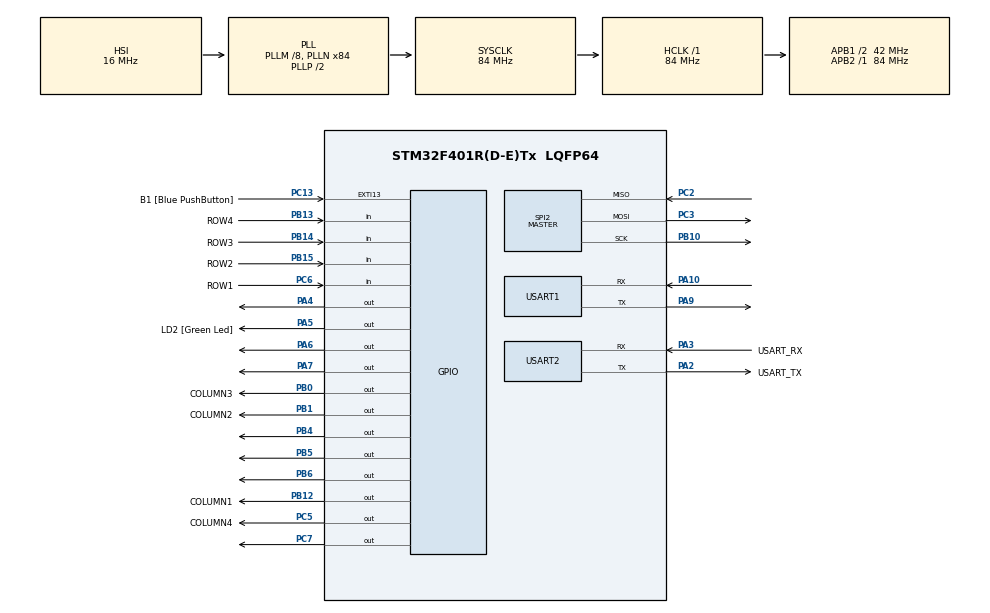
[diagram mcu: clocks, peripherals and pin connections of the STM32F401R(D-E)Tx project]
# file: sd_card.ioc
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FATFS._MAX_SS=4096
FATFS._USE_LFN=1
Mcu.Family=STM32F4
Mcu.Name=STM32F401R(D-E)Tx
Mcu.Package=LQFP64
NVIC.PriorityGroup=NVIC_PRIORITYGROUP_0
PA10.Mode=Asynchronous
PA10.Signal=USART1_RX
PA13.GPIO_Label=TMS
PA13.Mode=Serial_Wire
PA13.Signal=SYS_JTMS-SWDIO
PA14.GPIO_Label=TCK
PA14.Mode=Serial_Wire
PA14.Signal=SYS_JTCK-SWCLK
PA2.GPIO_Label=USART_TX
PA2.GPIO_Mode=GPIO_MODE_AF_PP
PA2.GPIO_PuPd=GPIO_NOPULL
PA2.GPIO_Speed=GPIO_SPEED_FREQ_LOW
PA2.Mode=Asynchronous
PA2.Signal=USART2_TX
PA3.GPIO_Label=USART_RX
PA3.GPIO_Mode=GPIO_MODE_AF_PP
PA3.GPIO_PuPd=GPIO_NOPULL
PA3.GPIO_Speed=GPIO_SPEED_FREQ_LOW
PA3.Mode=Asynchronous
PA3.Signal=USART2_RX
PA4.Signal=GPIO_Output
PA5.GPIO_Label=LD2 [Green Led]
PA5.GPIO_Mode=GPIO_MODE_OUTPUT_PP
PA5.GPIO_PuPd=GPIO_NOPULL
PA5.GPIO_Speed=GPIO_SPEED_FREQ_LOW
PA5.Signal=GPIO_Output
PA6.Signal=GPIO_Output
PA7.Signal=GPIO_Output
PA9.Mode=Asynchronous
PA9.Signal=USART1_TX
PB0.GPIO_Label=COLUMN3
PB0.Signal=GPIO_Output
PB1.GPIO_Label=COLUMN2
PB1.Signal=GPIO_Output
PB10.GPIO_Speed=GPIO_SPEED_FREQ_VERY_HIGH
PB10.Mode=Full_Duplex_Master
PB10.Signal=SPI2_SCK
PB12.GPIO_Label=COLUMN1
PB12.Signal=GPIO_Output
PB13.GPIO_Label=ROW4
PB13.Signal=GPIO_Input
PB14.GPIO_Label=ROW3
PB14.Signal=GPIO_Input
PB15.GPIO_Label=ROW2
PB15.Signal=GPIO_Input
PB3.Signal=SYS_JTDO-SWO
PB4.Signal=GPIO_Output
PB5.Signal=GPIO_Output
PB6.Signal=GPIO_Output
PC13-ANTI_TAMP.GPIO_Label=B1 [Blue PushButton]
PC13-ANTI_TAMP.GPIO_ModeDefaultEXTI=GPIO_MODE_IT_FALLING
PC13-ANTI_TAMP.GPIO_PuPd=GPIO_NOPULL
PC13-ANTI_TAMP.Signal=GPXTI13
PC14-OSC32_IN.Mode=LSE-External-Oscillator
PC14-OSC32_IN.Signal=RCC_OSC32_IN
PC15-OSC32_OUT.Mode=LSE-External-Oscillator
PC15-OSC32_OUT.Signal=RCC_OSC32_OUT
PC2.Mode=Full_Duplex_Master
PC2.Signal=SPI2_MISO
PC3.Mode=Full_Duplex_Master
PC3.Signal=SPI2_MOSI
PC5.GPIO_Label=COLUMN4
PC5.Signal=GPIO_Output
PC6.GPIO_Label=ROW1
PC6.Signal=GPIO_Input
PC7.Signal=GPIO_Output
PH0\ -\ OSC_IN.Mode=HSE-External-Clock-Source
PH0\ -\ OSC_IN.Signal=RCC_OSC_IN
PH1\ -\ OSC_OUT.Mode=HSE-External-Clock-Source
PH1\ -\ OSC_OUT.Signal=RCC_OSC_OUT
ProjectManager.HeapSize=0x200
ProjectManager.StackSize=0x400
ProjectManager.TargetToolchain=STM32CubeIDE
RCC.48MHZClocksFreq_Value=24000000
RCC.AHBFreq_Value=84000000
RCC.APB1CLKDivider=RCC_HCLK_DIV2
RCC.APB1Freq_Value=42000000
RCC.APB1TimFreq_Value=84000000
RCC.APB2Freq_Value=84000000
RCC.APB2TimFreq_Value=84000000
RCC.CortexFreq_Value=84000000
RCC.HCLKFreq_Value=84000000
RCC.HSE_VALUE=8000000
RCC.HSI_VALUE=16000000
RCC.PLLM=8
RCC.PLLN=84
RCC.PLLQ=7
RCC.SYSCLKFreq_VALUE=84000000
RCC.SYSCLKSource=RCC_SYSCLKSOURCE_PLLCLK
RCC.VCOOutputFreq_Value=168000000
SPI2.BaudRatePrescaler=SPI_BAUDRATEPRESCALER_2
SPI2.Direction=SPI_DIRECTION_2LINES
SPI2.Mode=SPI_MODE_MASTER
SPI2.VirtualType=VM_MASTER
USART1.VirtualMode=VM_ASYNC
USART2.VirtualMode=VM_ASYNC
VP_FATFS_VS_Generic.Mode=User_defined
board=NUCLEO-F401RE

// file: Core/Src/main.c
/* USER CODE BEGIN Header */
/**
  ******************************************************************************
  * @file           : main.c
  * @brief          : Main program body
  ******************************************************************************
  * @attention
  *
  * Copyright (c) 2023 STMicroelectronics.
  * All rights reserved.
  *
  * This software is licensed under terms that can be found in the LICENSE file
  * in the root directory of this software component.
  * If no LICENSE file comes with this software, it is provided AS-IS.
  *
  ******************************************************************************
  */
/* USER CODE END Header */
#include "main.h"
#include "fatfs.h"

/* USER CODE BEGIN Includes */
#include "stdio.h"
#include "string.h"
#include <stdlib.h>
#include "lcd.h"
#include <ctype.h>
/* USER CODE END Includes */

/* USER CODE BEGIN PD */
FATFS fs;
FIL fil;
/* USER CODE END PD */

SPI_HandleTypeDef hspi2;

UART_HandleTypeDef huart1;
UART_HandleTypeDef huart2;

void SystemClock_Config(void);
static void MX_GPIO_Init(void);
static void MX_USART2_UART_Init(void);
static void MX_SPI2_Init(void);
static void MX_USART1_UART_Init(void);

/* USER CODE BEGIN 0 */
/**
 * @brief Custom implementation of _write function for printf redirection.
 * @param file: File descriptor (not used)
 * @param ptr: Pointer to the data buffer
 * @param len: Length of the data buffer
 * @retval Number of bytes transmitted
 */
int _write(int file, char *ptr, int len)
{
	HAL_UART_Transmit(&huart2, (uint8_t*)ptr, len, HAL_MAX_DELAY);
	return len;
}

/**
 * @brief Function to transmit a string over UART2.
 * @param string: Pointer to the string to be transmitted
 */

void transmit_uart(char *string){
  	uint8_t len = strlen(string);
  	HAL_UART_Transmit(&huart2, (uint8_t*) string ,len , 200);
  }

/**
 * @brief Function to remove non-alphabetic characters from a string.
 * @param str: Input string
 * @retval Pointer to the new string with only alphabetic characters
 */
char* removeNonAlphabetChars(const char *str) {
    int length = strlen(str);
    char* newString = (char*)malloc(length + 1);  // Allocate memory for the new string

    if (newString == NULL) {
        return NULL;  // Memory allocation failed
    }

    int newLength = 0;  // Length of the new string

    for (int i = 0; i < length; i++) {
        if (isalpha((uint32_t)str[i])) {
            newString[newLength] = str[i];
            newLength++;
        }
    }

    newString[newLength] = '\0';  // Null-terminate the new string
    return newString;
}

/**
 * @brief Function to read a character from a 4x4 keypad.
 * @retval The character read from the keypad
 */
char read_from_keypad()
{
    char character_defined ;
    // Scan the first row
	HAL_GPIO_WritePin (ROW1_GPIO_Port, ROW1_Pin, GPIO_PIN_RESET);  //Pull the R1 low
	HAL_GPIO_WritePin (ROW2_GPIO_Port, ROW2_Pin, GPIO_PIN_SET);  // Pull the R2 High
	HAL_GPIO_WritePin (ROW3_GPIO_Port, ROW3_Pin, GPIO_PIN_SET);  // Pull the R3 High
	HAL_GPIO_WritePin (ROW4_GPIO_Port, ROW4_Pin, GPIO_PIN_SET);  // Pull the R4 High
	if (!(HAL_GPIO_ReadPin (COLUMN1_GPIO_Port, COLUMN1_Pin)))   // if the Col 1 is low
	{
		while (!(HAL_GPIO_ReadPin (COLUMN1_GPIO_Port, COLUMN1_Pin)));   // wait till the button is pressed
		character_defined = '1';
	}

	if (!(HAL_GPIO_ReadPin (COLUMN2_GPIO_Port, COLUMN2_Pin)))   // if the Col 2 is low
	{
		while (!(HAL_GPIO_ReadPin (COLUMN2_GPIO_Port, COLUMN2_Pin)));   // wait till the button is pressed
		character_defined = '2';
	}

	if (!(HAL_GPIO_ReadPin (COLUMN3_GPIO_Port, COLUMN3_Pin)))   // if the Col 3 is low
	{
		while (!(HAL_GPIO_ReadPin (COLUMN3_GPIO_Port, COLUMN3_Pin)));   // wait till the button is pressed
		character_defined = '3';
	}

	if (!(HAL_GPIO_ReadPin (COLUMN4_GPIO_Port, COLUMN4_Pin)))   // if the Col 4 is low
	{
		while (!(HAL_GPIO_ReadPin (COLUMN4_GPIO_Port, COLUMN4_Pin)));   // wait till the button is pressed
		character_defined = 'A';
	}
	 // Scan the second row
	HAL_GPIO_WritePin (ROW1_GPIO_Port, ROW1_Pin, GPIO_PIN_SET);  //Pull the R1 low
	HAL_GPIO_WritePin (ROW2_GPIO_Port, ROW2_Pin, GPIO_PIN_RESET);  // Pull the R2 High
	HAL_GPIO_WritePin (ROW3_GPIO_Port, ROW3_Pin, GPIO_PIN_SET);  // Pull the R3 High
	HAL_GPIO_WritePin (ROW4_GPIO_Port, ROW4_Pin, GPIO_PIN_SET);  // Pull the R4 High
	if (!(HAL_GPIO_ReadPin (COLUMN1_GPIO_Port, COLUMN1_Pin)))   // if the Col 1 is low
	{
		while (!(HAL_GPIO_ReadPin (COLUMN1_GPIO_Port, COLUMN1_Pin)));   // wait till the button is pressed
		character_defined = '4';
	}

	if (!(HAL_GPIO_ReadPin (COLUMN2_GPIO_Port, COLUMN2_Pin)))   // if the Col 2 is low
	{
		while (!(HAL_GPIO_ReadPin (COLUMN2_GPIO_Port, COLUMN2_Pin)));   // wait till the button is pressed
		character_defined = '5';
	}

	if (!(HAL_GPIO_ReadPin (COLUMN3_GPIO_Port, COLUMN3_Pin)))   // if the Col 3 is low
	{
		while (!(HAL_GPIO_ReadPin (COLUMN3_GPIO_Port, COLUMN3_Pin)));   // wait till the button is pressed
		character_defined = '6';
	}

	if (!(HAL_GPIO_ReadPin (COLUMN4_GPIO_Port, COLUMN4_Pin)))   // if the Col 4 is low
	{
		while (!(HAL_GPIO_ReadPin (COLUMN4_GPIO_Port, COLUMN4_Pin)));   // wait till the button is pressed
		character_defined = 'B';
	}
	 // Scan the third row
	HAL_GPIO_WritePin (ROW1_GPIO_Port, ROW1_Pin, GPIO_PIN_SET);  //Pull the R1 low
	HAL_GPIO_WritePin (ROW2_GPIO_Port, ROW2_Pin, GPIO_PIN_SET);  // Pull the R2 High
	HAL_GPIO_WritePin (ROW3_GPIO_Port, ROW3_Pin, GPIO_PIN_RESET);  // Pull the R3 High
	HAL_GPIO_WritePin (ROW4_GPIO_Port, ROW4_Pin, GPIO_PIN_SET);  // Pull the R4 High
	if (!(HAL_GPIO_ReadPin (COLUMN1_GPIO_Port, COLUMN1_Pin)))   // if the Col 1 is low
	{
		while (!(HAL_GPIO_ReadPin (COLUMN1_GPIO_Port, COLUMN1_Pin)));   // wait till the button is pressed
		character_defined = '7';
	}

	if (!(HAL_GPIO_ReadPin (COLUMN2_GPIO_Port, COLUMN2_Pin)))   // if the Col 2 is low
	{
		while (!(HAL_GPIO_ReadPin (COLUMN2_GPIO_Port, COLUMN2_Pin)));   // wait till the button is pressed
		character_defined = '8';
	}

	if (!(HAL_GPIO_ReadPin (COLUMN3_GPIO_Port, COLUMN3_Pin)))   // if the Col 3 is low
	{
		while (!(HAL_GPIO_ReadPin (COLUMN3_GPIO_Port, COLUMN3_Pin)));   // wait till the button is pressed
		character_defined = '9';
	}

	if (!(HAL_GPIO_ReadPin (COLUMN4_GPIO_Port, COLUMN4_Pin)))   // if the Col 4 is low
	{
		while (!(HAL_GPIO_ReadPin (COLUMN4_GPIO_Port, COLUMN4_Pin)));   // wait till the button is pressed
		character_defined = 'C';
	}
	 // Scan the fourth row
	HAL_GPIO_WritePin (ROW1_GPIO_Port, ROW1_Pin, GPIO_PIN_SET);  //Pull the R1 low
	HAL_GPIO_WritePin (ROW2_GPIO_Port, ROW2_Pin, GPIO_PIN_SET);  // Pull the R2 High
	HAL_GPIO_WritePin (ROW3_GPIO_Port, ROW3_Pin, GPIO_PIN_SET);  // Pull the R3 High
	HAL_GPIO_WritePin (ROW4_GPIO_Port, ROW4_Pin, GPIO_PIN_RESET);  // Pull the R4 High
	if (!(HAL_GPIO_ReadPin (COLUMN1_GPIO_Port, COLUMN1_Pin)))   // if the Col 1 is low
	{
		while (!(HAL_GPIO_ReadPin (COLUMN1_GPIO_Port, COLUMN1_Pin)));   // wait till the button is pressed
		character_defined = '*';
	}

	if (!(HAL_GPIO_ReadPin (COLUMN2_GPIO_Port, COLUMN2_Pin)))   // if the Col 2 is low
	{
		while (!(HAL_GPIO_ReadPin (COLUMN2_GPIO_Port, COLUMN2_Pin)));   // wait till the button is pressed
		character_defined = '0';
	}

	if (!(HAL_GPIO_ReadPin (COLUMN3_GPIO_Port, COLUMN3_Pin)))   // if the Col 3 is low
	{
		while (!(HAL_GPIO_ReadPin (COLUMN3_GPIO_Port, COLUMN3_Pin)));   // wait till the button is pressed
		character_defined = '#';
	}

	if (!(HAL_GPIO_ReadPin (COLUMN4_GPIO_Port, COLUMN4_Pin)))   // if the Col 4 is low
	{
		while (!(HAL_GPIO_ReadPin (COLUMN4_GPIO_Port, COLUMN4_Pin)));   // wait till the button is pressed
		character_defined = 'D';
	}
	return character_defined;

}

/* USER CODE END 0 */

int main(void)
{
  /* USER CODE BEGIN 1 */
 	char keypad_character =0;
 	char component_code[8] ="";
	/*uint8_t rtext[_MAX_SS];  File read buffer */

  /* USER CODE END 1 */

  /* MCU Configuration--------------------------------------------------------*/

  /* Reset of all peripherals, Initializes the Flash interface and the Systick. */
  HAL_Init();

  /* Configure the system clock */
  SystemClock_Config();

  /* Initialize all configured peripherals */
  MX_GPIO_Init();
  MX_USART2_UART_Init();
  MX_SPI2_Init();
  MX_FATFS_Init();
  MX_USART1_UART_Init();
  /* USER CODE BEGIN 2 */
  // Lcd_PortType ports[] = { D4_GPIO_Port, D5_GPIO_Port, D6_GPIO_Port, D7_GPIO_Port };
    Lcd_PortType ports[] = { GPIOC, GPIOB, GPIOA, GPIOA };
    // Lcd_PinType pins[] = {D4_Pin, D5_Pin, D6_Pin, D7_Pin};
    Lcd_PinType pins[] = {GPIO_PIN_7, GPIO_PIN_6, GPIO_PIN_7, GPIO_PIN_6};
    Lcd_HandleTypeDef lcd;
    // Lcd_create(ports, pins, RS_GPIO_Port, RS_Pin, EN_GPIO_Port, EN_Pin, LCD_4_BIT_MODE);
    lcd = Lcd_create(ports, pins, GPIOB, GPIO_PIN_5, GPIOB, GPIO_PIN_4, LCD_4_BIT_MODE);

    keypad_character = read_from_keypad();
    component_code[strlen(component_code)+1] = keypad_character;
    Lcd_string(&lcd, keypad_character);
    HAL_Delay(500);

//the end of code to read from a .csv file

    FRESULT result = f_mount(&USERFatFS, (TCHAR const*)USERPath, 0);

        if (result == FR_OK) {
          transmit_uart("Mounted successfully\n");
        } else {
          transmit_uart("Mounting error\n");
        }

        result = f_open(&USERFile, "data.csv", FA_READ);

            if (result == FR_OK)
            {
                // Read and process each line of the CSV file
                TCHAR buffer[128]; // Adjust the buffer size as needed

                  while (1)
                  {
                    // ... (previous code)

                    char *token;
                    while (f_gets(buffer, sizeof(buffer), &USERFile)) // Read lines from the CSV file
                    {
                      token = strtok(buffer, ";"); // Assuming ";" is the delimiter
                      if (token != NULL)
                      {
                       // Remove escape from the token
                    	  token = removeNonAlphabetChars(token);
                      // Remove double quotes from the token (if present)
                        if (token[0] == '"')
                    	  {
                    	   memmove(token, token + 1, strlen(token));
                    	   token[strlen(token) - 1] = '\0';
                    	  }
                        if (strcmp(token, component_code) == 0) // Compare with "kamel"
                        {
                          token = strtok(NULL, ";"); // Get the value from the second column
                          token[strlen(token) - 1] = '\0';
                          Lcd_cursor(&lcd, 0,1);
                          Lcd_string(&lcd, token);
                          transmit_uart(token);
                          transmit_uart(":string founded successfully \n ");
                        }
                        else
                        {
                        	transmit_uart(token);
                        	transmit_uart(":string not founded \n ");
                        }
                      }
                    }
                  }
                    f_close(&USERFile);            }
            else
            {
                transmit_uart("Error opening CSV file. Error code: ");
                transmit_uart("\n");
            }

      //the end of code to read from a csv file

  /* USER CODE END 2 */

  /* Infinite loop */
  while (1)
  {

  }
}

void SystemClock_Config(void)
{
  RCC_OscInitTypeDef RCC_OscInitStruct = {0};
  RCC_ClkInitTypeDef RCC_ClkInitStruct = {0};

  /** Configure the main internal regulator output voltage
  */
  __HAL_RCC_PWR_CLK_ENABLE();
  __HAL_PWR_VOLTAGESCALING_CONFIG(PWR_REGULATOR_VOLTAGE_SCALE2);

  /** Initializes the RCC Oscillators according to the specified parameters
  * in the RCC_OscInitTypeDef structure.
  */
  RCC_OscInitStruct.OscillatorType = RCC_OSCILLATORTYPE_HSI;
  RCC_OscInitStruct.HSIState = RCC_HSI_ON;
  RCC_OscInitStruct.HSICalibrationValue = RCC_HSICALIBRATION_DEFAULT;
  RCC_OscInitStruct.PLL.PLLState = RCC_PLL_ON;
  RCC_OscInitStruct.PLL.PLLSource = RCC_PLLSOURCE_HSI;
  RCC_OscInitStruct.PLL.PLLM = 8;
  RCC_OscInitStruct.PLL.PLLN = 84;
  RCC_OscInitStruct.PLL.PLLP = RCC_PLLP_DIV2;
  RCC_OscInitStruct.PLL.PLLQ = 7;
  if (HAL_RCC_OscConfig(&RCC_OscInitStruct) != HAL_OK)
  {
    Error_Handler();
  }

  /** Initializes the CPU, AHB and APB buses clocks
  */
  RCC_ClkInitStruct.ClockType = RCC_CLOCKTYPE_HCLK|RCC_CLOCKTYPE_SYSCLK
                              |RCC_CLOCKTYPE_PCLK1|RCC_CLOCKTYPE_PCLK2;
  RCC_ClkInitStruct.SYSCLKSource = RCC_SYSCLKSOURCE_PLLCLK;
  RCC_ClkInitStruct.AHBCLKDivider = RCC_SYSCLK_DIV1;
  RCC_ClkInitStruct.APB1CLKDivider = RCC_HCLK_DIV2;
  RCC_ClkInitStruct.APB2CLKDivider = RCC_HCLK_DIV1;

  if (HAL_RCC_ClockConfig(&RCC_ClkInitStruct, FLASH_LATENCY_2) != HAL_OK)
  {
    Error_Handler();
  }
}

static void MX_SPI2_Init(void)
{

  /* SPI2 parameter configuration*/
  hspi2.Instance = SPI2;
  hspi2.Init.Mode = SPI_MODE_MASTER;
  hspi2.Init.Direction = SPI_DIRECTION_2LINES;
  hspi2.Init.DataSize = SPI_DATASIZE_8BIT;
  hspi2.Init.CLKPolarity = SPI_POLARITY_LOW;
  hspi2.Init.CLKPhase = SPI_PHASE_1EDGE;
  hspi2.Init.NSS = SPI_NSS_SOFT;
  hspi2.Init.BaudRatePrescaler = SPI_BAUDRATEPRESCALER_2;
  hspi2.Init.FirstBit = SPI_FIRSTBIT_MSB;
  hspi2.Init.TIMode = SPI_TIMODE_DISABLE;
  hspi2.Init.CRCCalculation = SPI_CRCCALCULATION_DISABLE;
  hspi2.Init.CRCPolynomial = 10;
  if (HAL_SPI_Init(&hspi2) != HAL_OK)
  {
    Error_Handler();
  }

}

static void MX_USART1_UART_Init(void)
{

  huart1.Instance = USART1;
  huart1.Init.BaudRate = 115200;
  huart1.Init.WordLength = UART_WORDLENGTH_8B;
  huart1.Init.StopBits = UART_STOPBITS_1;
  huart1.Init.Parity = UART_PARITY_NONE;
  huart1.Init.Mode = UART_MODE_TX_RX;
  huart1.Init.HwFlowCtl = UART_HWCONTROL_NONE;
  huart1.Init.OverSampling = UART_OVERSAMPLING_16;
  if (HAL_UART_Init(&huart1) != HAL_OK)
  {
    Error_Handler();
  }

}

static void MX_USART2_UART_Init(void)
{

  huart2.Instance = USART2;
  huart2.Init.BaudRate = 115200;
  huart2.Init.WordLength = UART_WORDLENGTH_8B;
  huart2.Init.StopBits = UART_STOPBITS_1;
  huart2.Init.Parity = UART_PARITY_NONE;
  huart2.Init.Mode = UART_MODE_TX_RX;
  huart2.Init.HwFlowCtl = UART_HWCONTROL_NONE;
  huart2.Init.OverSampling = UART_OVERSAMPLING_16;
  if (HAL_UART_Init(&huart2) != HAL_OK)
  {
    Error_Handler();
  }

}

static void MX_GPIO_Init(void)
{
  GPIO_InitTypeDef GPIO_InitStruct = {0};

  /* GPIO Ports Clock Enable */
  __HAL_RCC_GPIOC_CLK_ENABLE();
  __HAL_RCC_GPIOH_CLK_ENABLE();
  __HAL_RCC_GPIOA_CLK_ENABLE();
  __HAL_RCC_GPIOB_CLK_ENABLE();

  /*Configure GPIO pin Output Level */
  HAL_GPIO_WritePin(GPIOA, GPIO_PIN_4|LD2_Pin|GPIO_PIN_6|GPIO_PIN_7, GPIO_PIN_RESET);

  /*Configure GPIO pin Output Level */
  HAL_GPIO_WritePin(GPIOC, COLUMN4_Pin|GPIO_PIN_7, GPIO_PIN_RESET);

  /*Configure GPIO pin Output Level */
  HAL_GPIO_WritePin(GPIOB, COLUMN3_Pin|COLUMN2_Pin|COLUMN1_Pin|GPIO_PIN_4
                          |GPIO_PIN_5|GPIO_PIN_6, GPIO_PIN_RESET);

  /*Configure GPIO pin : B1_Pin */
  GPIO_InitStruct.Pin = B1_Pin;
  GPIO_InitStruct.Mode = GPIO_MODE_IT_FALLING;
  GPIO_InitStruct.Pull = GPIO_NOPULL;
  HAL_GPIO_Init(B1_GPIO_Port, &GPIO_InitStruct);

  /*Configure GPIO pins : PA4 LD2_Pin PA6 PA7 */
  GPIO_InitStruct.Pin = GPIO_PIN_4|LD2_Pin|GPIO_PIN_6|GPIO_PIN_7;
  GPIO_InitStruct.Mode = GPIO_MODE_OUTPUT_PP;
  GPIO_InitStruct.Pull = GPIO_NOPULL;
  GPIO_InitStruct.Speed = GPIO_SPEED_FREQ_LOW;
  HAL_GPIO_Init(GPIOA, &GPIO_InitStruct);

  /*Configure GPIO pins : COLUMN4_Pin PC7 */
  GPIO_InitStruct.Pin = COLUMN4_Pin|GPIO_PIN_7;
  GPIO_InitStruct.Mode = GPIO_MODE_OUTPUT_PP;
  GPIO_InitStruct.Pull = GPIO_NOPULL;
  GPIO_InitStruct.Speed = GPIO_SPEED_FREQ_LOW;
  HAL_GPIO_Init(GPIOC, &GPIO_InitStruct);

  /*Configure GPIO pins : COLUMN3_Pin COLUMN2_Pin COLUMN1_Pin PB4
                           PB5 PB6 */
  GPIO_InitStruct.Pin = COLUMN3_Pin|COLUMN2_Pin|COLUMN1_Pin|GPIO_PIN_4
                          |GPIO_PIN_5|GPIO_PIN_6;
  GPIO_InitStruct.Mode = GPIO_MODE_OUTPUT_PP;
  GPIO_InitStruct.Pull = GPIO_NOPULL;
  GPIO_InitStruct.Speed = GPIO_SPEED_FREQ_LOW;
  HAL_GPIO_Init(GPIOB, &GPIO_InitStruct);

  /*Configure GPIO pins : ROW4_Pin ROW3_Pin ROW2_Pin */
  GPIO_InitStruct.Pin = ROW4_Pin|ROW3_Pin|ROW2_Pin;
  GPIO_InitStruct.Mode = GPIO_MODE_INPUT;
  GPIO_InitStruct.Pull = GPIO_NOPULL;
  HAL_GPIO_Init(GPIOB, &GPIO_InitStruct);

  /*Configure GPIO pin : ROW1_Pin */
  GPIO_InitStruct.Pin = ROW1_Pin;
  GPIO_InitStruct.Mode = GPIO_MODE_INPUT;
  GPIO_InitStruct.Pull = GPIO_NOPULL;
  HAL_GPIO_Init(ROW1_GPIO_Port, &GPIO_InitStruct);

}

void Error_Handler(void)
{
  __disable_irq();
  while (1)
  {
  }
}
